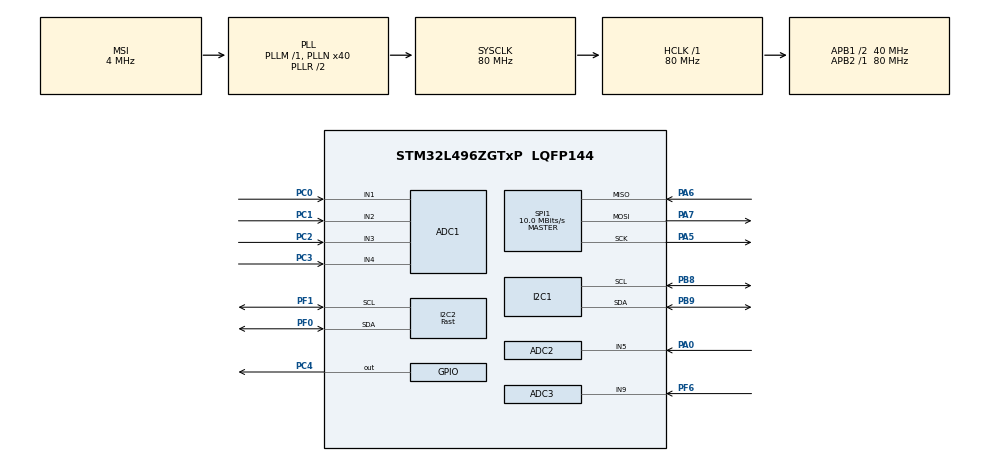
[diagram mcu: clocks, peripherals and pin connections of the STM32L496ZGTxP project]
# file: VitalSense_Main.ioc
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ADC1.Channel-0\#ChannelRegularConversion=ADC_CHANNEL_1
ADC1.Channel-1\#ChannelRegularConversion=ADC_CHANNEL_1
ADC1.Channel-2\#ChannelRegularConversion=ADC_CHANNEL_1
ADC1.Channel-3\#ChannelRegularConversion=ADC_CHANNEL_1
ADC1.ContinuousConvMode=ENABLE
ADC1.NbrOfConversion=4
ADC1.NbrOfConversionFlag=1
ADC1.OffsetNumber-0\#ChannelRegularConversion=ADC_OFFSET_NONE
ADC1.OffsetNumber-1\#ChannelRegularConversion=ADC_OFFSET_NONE
ADC1.OffsetNumber-2\#ChannelRegularConversion=ADC_OFFSET_NONE
ADC1.OffsetNumber-3\#ChannelRegularConversion=ADC_OFFSET_NONE
ADC1.Rank-0\#ChannelRegularConversion=1
ADC1.Rank-1\#ChannelRegularConversion=2
ADC1.Rank-2\#ChannelRegularConversion=3
ADC1.Rank-3\#ChannelRegularConversion=4
ADC1.SamplingTime-0\#ChannelRegularConversion=ADC_SAMPLETIME_2CYCLES_5
ADC1.SamplingTime-1\#ChannelRegularConversion=ADC_SAMPLETIME_2CYCLES_5
ADC1.SamplingTime-2\#ChannelRegularConversion=ADC_SAMPLETIME_2CYCLES_5
ADC1.SamplingTime-3\#ChannelRegularConversion=ADC_SAMPLETIME_2CYCLES_5
ADC1.master=1
ADC2.Channel-0\#ChannelRegularConversion=ADC_CHANNEL_5
ADC2.ContinuousConvMode=ENABLE
ADC2.NbrOfConversionFlag=1
ADC2.OffsetNumber-0\#ChannelRegularConversion=ADC_OFFSET_NONE
ADC2.Rank-0\#ChannelRegularConversion=1
ADC2.SamplingTime-0\#ChannelRegularConversion=ADC_SAMPLETIME_2CYCLES_5
ADC3.Channel-0\#ChannelRegularConversion=ADC_CHANNEL_9
ADC3.ContinuousConvMode=ENABLE
ADC3.NbrOfConversionFlag=1
ADC3.OffsetNumber-0\#ChannelRegularConversion=ADC_OFFSET_NONE
ADC3.Rank-0\#ChannelRegularConversion=1
ADC3.SamplingTime-0\#ChannelRegularConversion=ADC_SAMPLETIME_2CYCLES_5
FATFS._MAX_SS=4096
FATFS._USE_LFN=1
I2C1.Timing=0x00909BEB
I2C2.I2C_Speed_Mode=I2C_Fast
I2C2.Timing=0x00301347
Mcu.Family=STM32L4
Mcu.Name=STM32L496ZGTxP
Mcu.Package=LQFP144
NVIC.PriorityGroup=NVIC_PRIORITYGROUP_4
PA0.Signal=ADCx_IN5
PA13\ (JTMS/SWDIO).Mode=Serial_Wire
PA13\ (JTMS/SWDIO).Signal=SYS_JTMS-SWDIO
PA14\ (JTCK/SWCLK).Mode=Serial_Wire
PA14\ (JTCK/SWCLK).Signal=SYS_JTCK-SWCLK
PA5.Mode=Full_Duplex_Master
PA5.Signal=SPI1_SCK
PA6.Mode=Full_Duplex_Master
PA6.Signal=SPI1_MISO
PA7.Mode=Full_Duplex_Master
PA7.Signal=SPI1_MOSI
PB8.Mode=I2C
PB8.Signal=I2C1_SCL
PB9.Mode=I2C
PB9.Signal=I2C1_SDA
PC0.Signal=ADCx_IN1
PC1.Signal=ADCx_IN2
PC2.Signal=ADCx_IN3
PC3.Signal=ADCx_IN4
PC4.Signal=GPIO_Output
PF0.Mode=I2C
PF0.Signal=I2C2_SDA
PF1.Mode=I2C
PF1.Signal=I2C2_SCL
PF6.Mode=IN9-Single-Ended
PF6.Signal=ADC3_IN9
PH0-OSC_IN\ (PH0).Mode=HSE-External-Clock-Source
PH0-OSC_IN\ (PH0).Signal=RCC_OSC_IN
ProjectManager.HeapSize=0x200
ProjectManager.StackSize=0x400
ProjectManager.TargetToolchain=STM32CubeIDE
RCC.48MHZClocksFreq_Value=24000000
RCC.ADCFreq_Value=32000000
RCC.AHBFreq_Value=80000000
RCC.APB1CLKDivider=RCC_HCLK_DIV2
RCC.APB1Freq_Value=40000000
RCC.APB1TimFreq_Value=80000000
RCC.APB2Freq_Value=80000000
RCC.APB2TimFreq_Value=80000000
RCC.CortexFreq_Value=80000000
RCC.HCLKFreq_Value=80000000
RCC.HSE_VALUE=8000000
RCC.HSI48_VALUE=48000000
RCC.HSI_VALUE=16000000
RCC.LSE_VALUE=32768
RCC.MSI_VALUE=4000000
RCC.PLLMUL=RCC_PLL_MUL9
RCC.PLLN=40
RCC.PLLSAI1N=16
RCC.PRESCALERUSB=RCC_USBCLKSOURCE_PLL_DIV1_5
RCC.SYSCLKFreq_VALUE=80000000
RCC.SYSCLKSource=RCC_SYSCLKSOURCE_PLLCLK
RCC.SYSCLKSourceVirtual=RCC_SYSCLKSOURCE_PLLCLK
RCC.USBFreq_Value=32000000
RCC.VCOOutputFreq_Value=160000000
SH.ADCx_IN1.0=ADC1_IN1,IN1-Single-Ended
SH.ADCx_IN2.0=ADC1_IN2,IN2-Single-Ended
SH.ADCx_IN3.0=ADC1_IN3,IN3-Single-Ended
SH.ADCx_IN4.0=ADC1_IN4,IN4-Single-Ended
SH.ADCx_IN5.0=ADC2_IN5,IN5-Single-Ended
SPI1.BaudRatePrescaler=SPI_BAUDRATEPRESCALER_8
SPI1.CalculateBaudRate=10.0 MBits/s
SPI1.DataSize=SPI_DATASIZE_8BIT
SPI1.Direction=SPI_DIRECTION_2LINES
SPI1.Mode=SPI_MODE_MASTER
SPI1.VirtualType=VM_MASTER
VP_FATFS_VS_Generic.Mode=User_defined
board=NUCLEO-L496ZG-P

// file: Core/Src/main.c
/* USER CODE BEGIN Header */
/**
 ******************************************************************************
 * @file           : main.c
 * @brief          : Main program body
 ******************************************************************************
 * @attention
 *
 * Copyright (c) 2024 STMicroelectronics.
 * All rights reserved.
 *
 * This software is licensed under terms that can be found in the LICENSE file
 * in the root directory of this software component.
 * If no LICENSE file comes with this software, it is provided AS-IS.
 *
 ******************************************************************************
 */
/* USER CODE END Header */
#include "main.h"
#include "fatfs.h"

/* USER CODE BEGIN Includes */
#include <stdio.h>

#include "MPU6050.h"
#include "DS3231.h"
#include "MLX90614.h"

/* USER CODE END Includes */

/* USER CODE BEGIN PD */
FATFS fs;
FIL fil;

/* USER CODE END PD */

ADC_HandleTypeDef hadc1;
ADC_HandleTypeDef hadc2;
ADC_HandleTypeDef hadc3;

I2C_HandleTypeDef hi2c1;
I2C_HandleTypeDef hi2c2;

SPI_HandleTypeDef hspi1;

/* USER CODE BEGIN PV */
/*Variable to store time*/
uint16_t get_time[7];

/* Variables to store IMU outputs*/
int16_t Accel_X_RAW = 0;
int16_t Accel_Y_RAW = 0;
int16_t Accel_Z_RAW = 0;
int16_t Gyro_X_RAW = 0;
int16_t Gyro_Y_RAW = 0;
int16_t Gyro_Z_RAW = 0;
float Ax, Ay, Az, Gx, Gy, Gz;

uint16_t ECG_VAL; //Variable to store ECG ADC value

uint16_t EMG_VAL[4]; //Variable array to store EMG 4 ADC Values

uint16_t GSR_VAL; //Variable to store GSR values

float TEMP;

char out1[10], out2[10], out3[10], out4[10], out5[10], out6[10];
char temp_char;
/* USER CODE END PV */

void SystemClock_Config(void);
void PeriphCommonClock_Config(void);
static void MX_GPIO_Init(void);
static void MX_I2C2_Init(void);
static void MX_I2C1_Init(void);
static void MX_SPI1_Init(void);
static void MX_ADC2_Init(void);
static void MX_ADC1_Init(void);
static void MX_ADC3_Init(void);

/* USER CODE BEGIN 0 */
_RTC rtc = {
		.Year = 24, .Month = 7, .Date = 14,
		.DaysOfWeek = SUNDAY,
		.Hour = 20, .Min = 51, .Sec = 0
};
/* USER CODE END 0 */

int main(void)
{
  /* USER CODE BEGIN 1 */
	//char buf[4]; //Variable array for MPU6050

  /* USER CODE END 1 */

  /* MCU Configuration--------------------------------------------------------*/

  /* Reset of all peripherals, Initializes the Flash interface and the Systick. */
  HAL_Init();

  /* Configure the system clock */
  SystemClock_Config();

/* Configure the peripherals common clocks */
  PeriphCommonClock_Config();

  /* Initialize all configured peripherals */
  MX_GPIO_Init();
  MX_I2C2_Init();
  MX_I2C1_Init();
  MX_SPI1_Init();
  MX_FATFS_Init();
  MX_ADC2_Init();
  MX_ADC1_Init();
  MX_ADC3_Init();
  /* USER CODE BEGIN 2 */

	DS3231_Init(&hi2c2);
	//DS3231_SetTime(&rtc);
	MPU6050_Init();

  /* USER CODE END 2 */

  /* Infinite loop */
  /* USER CODE BEGIN WHILE */
	while (1)
	{
		/*Read time from external RTC*/
		DS3231_GetTime(&rtc);

		/*Read ADC value for ECG*/
		Get_ECG();

		/*Get values from 4 ADC Channels for EMG*/
		Get_EMG();

		/*Get Skin Response value from ADc*/
		Get_GSR();

		/*Accelerometer and Gyroscope Read Functions*/
		MPU6050_Read_Accel();
		MPU6050_Read_Gyro();

		/*Get Temperature value from ambient IR sensor*/
		TEMP = MLX90614_ReadTemp(MLX90614_DEFAULT_SA, MLX90614_TOBJ1);

		HAL_Delay(1);

		/*Converting Time structure to Integer array*/
		get_time[0]= rtc.Sec;
		get_time[1]= rtc.Min;
		get_time[2]= rtc.Hour;
		get_time[3]= rtc.DaysOfWeek;
		get_time[4]= rtc.Date;
		get_time[5]= rtc.Month;
		get_time[6]= rtc.Year;

		/*Code to convert float char values*/
		gcvt(Ax,6,out1);
		gcvt(Ay,6,out2);
		gcvt(Az,6,out3);
		gcvt(Gx,6,out4);
		gcvt(Gy,6,out5);
		gcvt(Gz,6,out6);
		gcvt(TEMP,2,temp_char);

		/*SD Card FATFS Functions*/
		f_mount(&fs, "", 0);
		f_open(&fil, "Log.txt", FA_OPEN_APPEND | FA_WRITE);
		f_lseek(&fil, f_size(&fil)); //Use f_size(&fil) so the function f_lseek would be f_lseek(&fil,f_size(&fil));
		f_printf(&fil, "%d, %d, %d, %d, %d, %d, %s, %s, %s, %s, %s, %s, %d, %d, %d, %d, %d ,%d, %s\n", get_time[0], get_time[1], get_time[2], get_time[4], get_time[5], get_time[6],
				out1, out2, out3, out4, out5, out6, ECG_VAL, EMG_VAL[0], EMG_VAL[1], EMG_VAL[2], EMG_VAL[3], GSR_VAL, temp_char);
		f_close(&fil);

		HAL_Delay(1);
    /* USER CODE END WHILE */

	}
}

void SystemClock_Config(void)
{
  RCC_OscInitTypeDef RCC_OscInitStruct = {0};
  RCC_ClkInitTypeDef RCC_ClkInitStruct = {0};

  /** Configure the main internal regulator output voltage
  */
  if (HAL_PWREx_ControlVoltageScaling(PWR_REGULATOR_VOLTAGE_SCALE1) != HAL_OK)
  {
    Error_Handler();
  }

  /** Initializes the RCC Oscillators according to the specified parameters
  * in the RCC_OscInitTypeDef structure.
  */
  RCC_OscInitStruct.OscillatorType = RCC_OSCILLATORTYPE_MSI;
  RCC_OscInitStruct.MSIState = RCC_MSI_ON;
  RCC_OscInitStruct.MSICalibrationValue = 0;
  RCC_OscInitStruct.MSIClockRange = RCC_MSIRANGE_6;
  RCC_OscInitStruct.PLL.PLLState = RCC_PLL_ON;
  RCC_OscInitStruct.PLL.PLLSource = RCC_PLLSOURCE_MSI;
  RCC_OscInitStruct.PLL.PLLM = 1;
  RCC_OscInitStruct.PLL.PLLN = 40;
  RCC_OscInitStruct.PLL.PLLP = RCC_PLLP_DIV2;
  RCC_OscInitStruct.PLL.PLLQ = RCC_PLLQ_DIV2;
  RCC_OscInitStruct.PLL.PLLR = RCC_PLLR_DIV2;
  if (HAL_RCC_OscConfig(&RCC_OscInitStruct) != HAL_OK)
  {
    Error_Handler();
  }

  /** Initializes the CPU, AHB and APB buses clocks
  */
  RCC_ClkInitStruct.ClockType = RCC_CLOCKTYPE_HCLK|RCC_CLOCKTYPE_SYSCLK
                              |RCC_CLOCKTYPE_PCLK1|RCC_CLOCKTYPE_PCLK2;
  RCC_ClkInitStruct.SYSCLKSource = RCC_SYSCLKSOURCE_PLLCLK;
  RCC_ClkInitStruct.AHBCLKDivider = RCC_SYSCLK_DIV1;
  RCC_ClkInitStruct.APB1CLKDivider = RCC_HCLK_DIV2;
  RCC_ClkInitStruct.APB2CLKDivider = RCC_HCLK_DIV1;

  if (HAL_RCC_ClockConfig(&RCC_ClkInitStruct, FLASH_LATENCY_4) != HAL_OK)
  {
    Error_Handler();
  }
}

void PeriphCommonClock_Config(void)
{
  RCC_PeriphCLKInitTypeDef PeriphClkInit = {0};

  /** Initializes the peripherals clock
  */
  PeriphClkInit.PeriphClockSelection = RCC_PERIPHCLK_ADC;
  PeriphClkInit.AdcClockSelection = RCC_ADCCLKSOURCE_PLLSAI1;
  PeriphClkInit.PLLSAI1.PLLSAI1Source = RCC_PLLSOURCE_MSI;
  PeriphClkInit.PLLSAI1.PLLSAI1M = 1;
  PeriphClkInit.PLLSAI1.PLLSAI1N = 16;
  PeriphClkInit.PLLSAI1.PLLSAI1P = RCC_PLLP_DIV2;
  PeriphClkInit.PLLSAI1.PLLSAI1Q = RCC_PLLQ_DIV2;
  PeriphClkInit.PLLSAI1.PLLSAI1R = RCC_PLLR_DIV2;
  PeriphClkInit.PLLSAI1.PLLSAI1ClockOut = RCC_PLLSAI1_ADC1CLK;
  if (HAL_RCCEx_PeriphCLKConfig(&PeriphClkInit) != HAL_OK)
  {
    Error_Handler();
  }
}

static void MX_ADC1_Init(void)
{

  ADC_MultiModeTypeDef multimode = {0};
  ADC_ChannelConfTypeDef sConfig = {0};

  /** Common config
  */
  hadc1.Instance = ADC1;
  hadc1.Init.ClockPrescaler = ADC_CLOCK_ASYNC_DIV1;
  hadc1.Init.Resolution = ADC_RESOLUTION_12B;
  hadc1.Init.DataAlign = ADC_DATAALIGN_RIGHT;
  hadc1.Init.ScanConvMode = ADC_SCAN_ENABLE;
  hadc1.Init.EOCSelection = ADC_EOC_SINGLE_CONV;
  hadc1.Init.LowPowerAutoWait = DISABLE;
  hadc1.Init.ContinuousConvMode = ENABLE;
  hadc1.Init.NbrOfConversion = 4;
  hadc1.Init.DiscontinuousConvMode = DISABLE;
  hadc1.Init.ExternalTrigConv = ADC_SOFTWARE_START;
  hadc1.Init.ExternalTrigConvEdge = ADC_EXTERNALTRIGCONVEDGE_NONE;
  hadc1.Init.DMAContinuousRequests = DISABLE;
  hadc1.Init.Overrun = ADC_OVR_DATA_PRESERVED;
  hadc1.Init.OversamplingMode = DISABLE;
  if (HAL_ADC_Init(&hadc1) != HAL_OK)
  {
    Error_Handler();
  }

  /** Configure the ADC multi-mode
  */
  multimode.Mode = ADC_MODE_INDEPENDENT;
  if (HAL_ADCEx_MultiModeConfigChannel(&hadc1, &multimode) != HAL_OK)
  {
    Error_Handler();
  }

  /** Configure Regular Channel
  */
  sConfig.Channel = ADC_CHANNEL_1;
  sConfig.Rank = ADC_REGULAR_RANK_1;
  sConfig.SamplingTime = ADC_SAMPLETIME_2CYCLES_5;
  sConfig.SingleDiff = ADC_SINGLE_ENDED;
  sConfig.OffsetNumber = ADC_OFFSET_NONE;
  sConfig.Offset = 0;
  if (HAL_ADC_ConfigChannel(&hadc1, &sConfig) != HAL_OK)
  {
    Error_Handler();
  }

  /** Configure Regular Channel
  */
  sConfig.Rank = ADC_REGULAR_RANK_2;
  if (HAL_ADC_ConfigChannel(&hadc1, &sConfig) != HAL_OK)
  {
    Error_Handler();
  }

  /** Configure Regular Channel
  */
  sConfig.Rank = ADC_REGULAR_RANK_3;
  if (HAL_ADC_ConfigChannel(&hadc1, &sConfig) != HAL_OK)
  {
    Error_Handler();
  }

  /** Configure Regular Channel
  */
  sConfig.Rank = ADC_REGULAR_RANK_4;
  if (HAL_ADC_ConfigChannel(&hadc1, &sConfig) != HAL_OK)
  {
    Error_Handler();
  }

}

static void MX_ADC2_Init(void)
{

  ADC_ChannelConfTypeDef sConfig = {0};

  /** Common config
  */
  hadc2.Instance = ADC2;
  hadc2.Init.ClockPrescaler = ADC_CLOCK_ASYNC_DIV1;
  hadc2.Init.Resolution = ADC_RESOLUTION_12B;
  hadc2.Init.DataAlign = ADC_DATAALIGN_RIGHT;
  hadc2.Init.ScanConvMode = ADC_SCAN_DISABLE;
  hadc2.Init.EOCSelection = ADC_EOC_SINGLE_CONV;
  hadc2.Init.LowPowerAutoWait = DISABLE;
  hadc2.Init.ContinuousConvMode = ENABLE;
  hadc2.Init.NbrOfConversion = 1;
  hadc2.Init.DiscontinuousConvMode = DISABLE;
  hadc2.Init.ExternalTrigConv = ADC_SOFTWARE_START;
  hadc2.Init.ExternalTrigConvEdge = ADC_EXTERNALTRIGCONVEDGE_NONE;
  hadc2.Init.DMAContinuousRequests = DISABLE;
  hadc2.Init.Overrun = ADC_OVR_DATA_PRESERVED;
  hadc2.Init.OversamplingMode = DISABLE;
  if (HAL_ADC_Init(&hadc2) != HAL_OK)
  {
    Error_Handler();
  }

  /** Configure Regular Channel
  */
  sConfig.Channel = ADC_CHANNEL_5;
  sConfig.Rank = ADC_REGULAR_RANK_1;
  sConfig.SamplingTime = ADC_SAMPLETIME_2CYCLES_5;
  sConfig.SingleDiff = ADC_SINGLE_ENDED;
  sConfig.OffsetNumber = ADC_OFFSET_NONE;
  sConfig.Offset = 0;
  if (HAL_ADC_ConfigChannel(&hadc2, &sConfig) != HAL_OK)
  {
    Error_Handler();
  }

}

static void MX_ADC3_Init(void)
{

  ADC_ChannelConfTypeDef sConfig = {0};

  /** Common config
  */
  hadc3.Instance = ADC3;
  hadc3.Init.ClockPrescaler = ADC_CLOCK_ASYNC_DIV1;
  hadc3.Init.Resolution = ADC_RESOLUTION_12B;
  hadc3.Init.DataAlign = ADC_DATAALIGN_RIGHT;
  hadc3.Init.ScanConvMode = ADC_SCAN_DISABLE;
  hadc3.Init.EOCSelection = ADC_EOC_SINGLE_CONV;
  hadc3.Init.LowPowerAutoWait = DISABLE;
  hadc3.Init.ContinuousConvMode = ENABLE;
  hadc3.Init.NbrOfConversion = 1;
  hadc3.Init.DiscontinuousConvMode = DISABLE;
  hadc3.Init.ExternalTrigConv = ADC_SOFTWARE_START;
  hadc3.Init.ExternalTrigConvEdge = ADC_EXTERNALTRIGCONVEDGE_NONE;
  hadc3.Init.DMAContinuousRequests = DISABLE;
  hadc3.Init.Overrun = ADC_OVR_DATA_PRESERVED;
  hadc3.Init.OversamplingMode = DISABLE;
  if (HAL_ADC_Init(&hadc3) != HAL_OK)
  {
    Error_Handler();
  }

  /** Configure Regular Channel
  */
  sConfig.Channel = ADC_CHANNEL_9;
  sConfig.Rank = ADC_REGULAR_RANK_1;
  sConfig.SamplingTime = ADC_SAMPLETIME_2CYCLES_5;
  sConfig.SingleDiff = ADC_SINGLE_ENDED;
  sConfig.OffsetNumber = ADC_OFFSET_NONE;
  sConfig.Offset = 0;
  if (HAL_ADC_ConfigChannel(&hadc3, &sConfig) != HAL_OK)
  {
    Error_Handler();
  }

}

static void MX_I2C1_Init(void)
{

  hi2c1.Instance = I2C1;
  hi2c1.Init.Timing = 0x00909BEB;
  hi2c1.Init.OwnAddress1 = 0;
  hi2c1.Init.AddressingMode = I2C_ADDRESSINGMODE_7BIT;
  hi2c1.Init.DualAddressMode = I2C_DUALADDRESS_DISABLE;
  hi2c1.Init.OwnAddress2 = 0;
  hi2c1.Init.OwnAddress2Masks = I2C_OA2_NOMASK;
  hi2c1.Init.GeneralCallMode = I2C_GENERALCALL_DISABLE;
  hi2c1.Init.NoStretchMode = I2C_NOSTRETCH_DISABLE;
  if (HAL_I2C_Init(&hi2c1) != HAL_OK)
  {
    Error_Handler();
  }

  /** Configure Analogue filter
  */
  if (HAL_I2CEx_ConfigAnalogFilter(&hi2c1, I2C_ANALOGFILTER_ENABLE) != HAL_OK)
  {
    Error_Handler();
  }

  /** Configure Digital filter
  */
  if (HAL_I2CEx_ConfigDigitalFilter(&hi2c1, 0) != HAL_OK)
  {
    Error_Handler();
  }

}

static void MX_I2C2_Init(void)
{

  hi2c2.Instance = I2C2;
  hi2c2.Init.Timing = 0x00301347;
  hi2c2.Init.OwnAddress1 = 0;
  hi2c2.Init.AddressingMode = I2C_ADDRESSINGMODE_7BIT;
  hi2c2.Init.DualAddressMode = I2C_DUALADDRESS_DISABLE;
  hi2c2.Init.OwnAddress2 = 0;
  hi2c2.Init.OwnAddress2Masks = I2C_OA2_NOMASK;
  hi2c2.Init.GeneralCallMode = I2C_GENERALCALL_DISABLE;
  hi2c2.Init.NoStretchMode = I2C_NOSTRETCH_DISABLE;
  if (HAL_I2C_Init(&hi2c2) != HAL_OK)
  {
    Error_Handler();
  }

  /** Configure Analogue filter
  */
  if (HAL_I2CEx_ConfigAnalogFilter(&hi2c2, I2C_ANALOGFILTER_ENABLE) != HAL_OK)
  {
    Error_Handler();
  }

  /** Configure Digital filter
  */
  if (HAL_I2CEx_ConfigDigitalFilter(&hi2c2, 0) != HAL_OK)
  {
    Error_Handler();
  }

}

static void MX_SPI1_Init(void)
{

  /* SPI1 parameter configuration*/
  hspi1.Instance = SPI1;
  hspi1.Init.Mode = SPI_MODE_MASTER;
  hspi1.Init.Direction = SPI_DIRECTION_2LINES;
  hspi1.Init.DataSize = SPI_DATASIZE_8BIT;
  hspi1.Init.CLKPolarity = SPI_POLARITY_LOW;
  hspi1.Init.CLKPhase = SPI_PHASE_1EDGE;
  hspi1.Init.NSS = SPI_NSS_SOFT;
  hspi1.Init.BaudRatePrescaler = SPI_BAUDRATEPRESCALER_8;
  hspi1.Init.FirstBit = SPI_FIRSTBIT_MSB;
  hspi1.Init.TIMode = SPI_TIMODE_DISABLE;
  hspi1.Init.CRCCalculation = SPI_CRCCALCULATION_DISABLE;
  hspi1.Init.CRCPolynomial = 7;
  hspi1.Init.CRCLength = SPI_CRC_LENGTH_DATASIZE;
  hspi1.Init.NSSPMode = SPI_NSS_PULSE_ENABLE;
  if (HAL_SPI_Init(&hspi1) != HAL_OK)
  {
    Error_Handler();
  }

}

static void MX_GPIO_Init(void)
{
  GPIO_InitTypeDef GPIO_InitStruct = {0};

  /* GPIO Ports Clock Enable */
  __HAL_RCC_GPIOF_CLK_ENABLE();
  __HAL_RCC_GPIOH_CLK_ENABLE();
  __HAL_RCC_GPIOC_CLK_ENABLE();
  __HAL_RCC_GPIOA_CLK_ENABLE();
  __HAL_RCC_GPIOB_CLK_ENABLE();

  /*Configure GPIO pin Output Level */
  HAL_GPIO_WritePin(GPIOC, GPIO_PIN_4, GPIO_PIN_RESET);

  /*Configure GPIO pin : PC4 */
  GPIO_InitStruct.Pin = GPIO_PIN_4;
  GPIO_InitStruct.Mode = GPIO_MODE_OUTPUT_PP;
  GPIO_InitStruct.Pull = GPIO_NOPULL;
  GPIO_InitStruct.Speed = GPIO_SPEED_FREQ_LOW;
  HAL_GPIO_Init(GPIOC, &GPIO_InitStruct);

}

void Error_Handler(void)
{
	__disable_irq();
	while (1)
	{
	}
}
